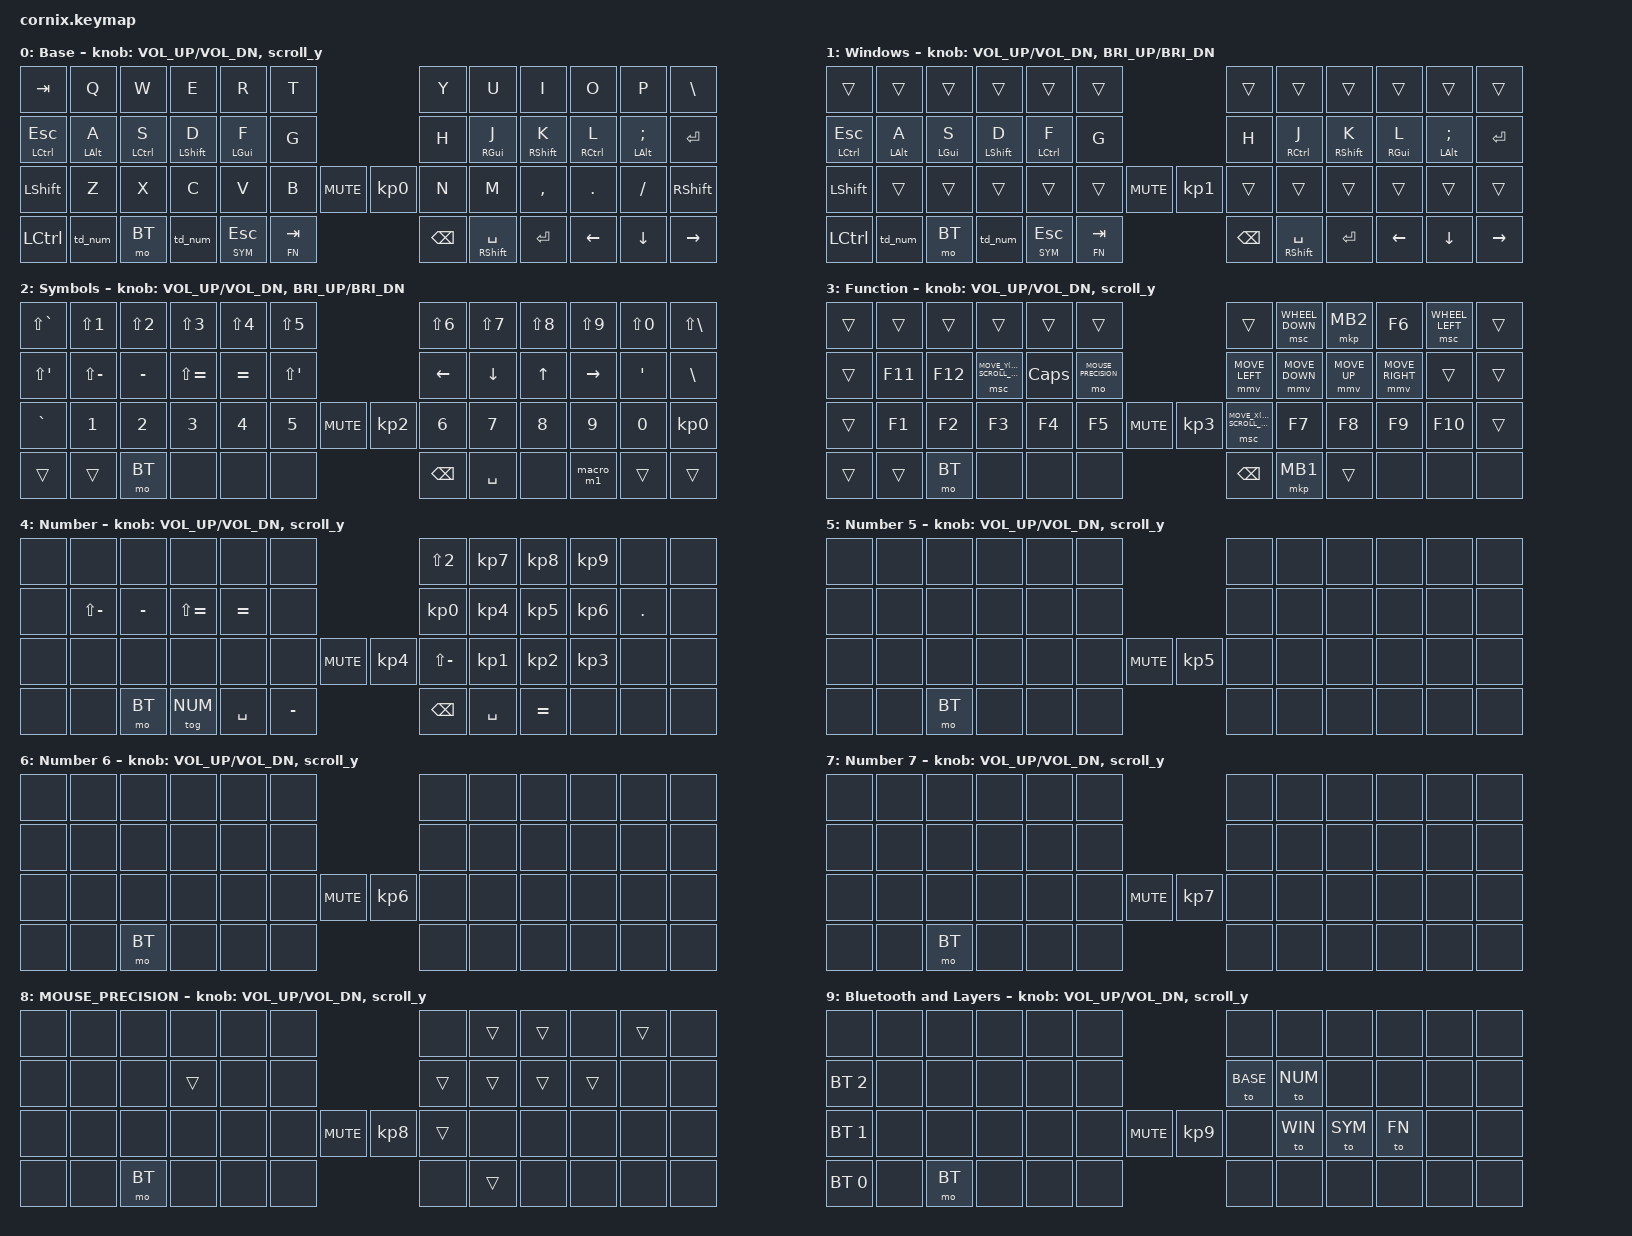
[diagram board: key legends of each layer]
/* Cornix ZMK keymap migrated from CustomizedLayout.vil. */

#include "zmk-helpers/helper.h"
#include "includes/cornix54.h"

#define ZMK_POINTING_DEFAULT_MOVE_VAL 1200

#include <input/processors.dtsi>
#include <behaviors.dtsi>
#include <dt-bindings/zmk/bt.h>
#include <dt-bindings/zmk/keys.h>
#include <dt-bindings/zmk/pointing.h>

#define BASE 0
#define WIN  1
#define SYM  2
#define FN   3
#define NUM  4
#define NUM5 5
#define NUM6 6
#define NUM7 7
#define MOUSE_PRECISION 8
#define BT   9

/* These are the physical positions of the opposite hand and the four home
 * thumb keys. They are the same positional scheme used by the mature
 * "timeless homerow mods" pattern in zmk-config repositories. */

#define KEYS_L LT0 LT1 LT2 LT3 LT4 LT5 LM0 LM1 LM2 LM3 LM4 LM5 LB0 LB1 LB2 LB3 LB4 LB5
#define KEYS_R RT0 RT1 RT2 RT3 RT4 RT5 RM0 RM1 RM2 RM3 RM4 RM5 RB0 RB1 RB2 RB3 RB4 RB5
#define KEYS_T LH1 LH0 RH0 RH1

/* RMK: hold_timeout=200 ms, prior_idle_time=120 ms, flow-tap enabled,
 * permissive-hold enabled, unilateral-tap enabled. ZMK has no exact
 * unilateral-tap switch, so the positional trigger lists below are the
 * practical equivalent: opposite-hand chords become holds, while ordinary
 * same-hand rolls remain taps. */

#define HM_TERM 280
#define HM_QUICK 175
#define HM_IDLE 150
#define LT_TERM 220
#define LT_QUICK 175

/* Kanata scroll rate: 3 units every 90 ms, rounded to units per second. */
#define MOUSE_SCROLL_SPEED 33
#define WHEEL_UP MOVE_Y(MOUSE_SCROLL_SPEED)
#define WHEEL_DOWN MOVE_Y(-MOUSE_SCROLL_SPEED)
#define WHEEL_LEFT MOVE_X(-MOUSE_SCROLL_SPEED)
#define WHEEL_RIGHT MOVE_X(MOUSE_SCROLL_SPEED)

/* Faster default movement with a shorter acceleration ramp. */

&mmv {
    time-to-max-speed-ms = <220>;
    acceleration-exponent = <1>;
};

/*
 * Hold the precision key on the Function layer to reduce X/Y movement
 * to one quarter. The scaler keeps fractional movement as remainders.
 */

&mmv_input_listener {
    precision {
        layers = <MOUSE_PRECISION>;
        input-processors = <&zip_xy_scaler 1 4>;
    };
};

/ {
    behaviors {
        scroll_y: scroll_y {
            compatible = "zmk,behavior-sensor-rotate";
            #sensor-binding-cells = <0>;
            bindings = <&msc SCRL_DOWN>, <&msc SCRL_UP>;
        };

        /* Both finger HRMs allow chords with thumb Enter (RH2). */

        hm_l: homerow_mod_left {
            compatible = "zmk,behavior-hold-tap";
            #binding-cells = <2>;
            bindings = <&kp>, <&kp>;

            flavor = "balanced";
            tapping-term-ms = <HM_TERM>;
            quick-tap-ms = <HM_QUICK>;
            require-prior-idle-ms = <HM_IDLE>;
            hold-trigger-key-positions = <KEYS_R KEYS_T RH2>;
            hold-trigger-on-release;
        };

        hm_r: homerow_mod_right {
            compatible = "zmk,behavior-hold-tap";
            #binding-cells = <2>;
            bindings = <&kp>, <&kp>;

            flavor = "balanced";
            tapping-term-ms = <HM_TERM>;
            quick-tap-ms = <HM_QUICK>;
            require-prior-idle-ms = <HM_IDLE>;
            hold-trigger-key-positions = <KEYS_L KEYS_T RH2>;
            hold-trigger-on-release;
        };

        /* Preserve Space's timing and right-hand positional rules. */

        hm_spc: space_shift {
            compatible = "zmk,behavior-hold-tap";
            #binding-cells = <2>;
            bindings = <&kp>, <&kp>;

            flavor = "balanced";
            tapping-term-ms = <220>;
            quick-tap-ms = <250>;
            require-prior-idle-ms = <150>;
            hold-trigger-key-positions = <KEYS_L KEYS_T>;
            hold-trigger-on-release;
        };

        /* Layer-tap behavior: hold activates a layer, tap sends a key. */

        lt_key: lt_key {
            compatible = "zmk,behavior-hold-tap";
            #binding-cells = <2>;
            bindings = <&mo>, <&kp>;

            flavor = "hold-preferred";
            tapping-term-ms = <LT_TERM>;
            quick-tap-ms = <LT_QUICK>;
        };

        /* RMK TD(0): single tap toggles layer 4, hold momentarily activates it. */

        td_num: td_num {
            compatible = "zmk,behavior-tap-dance";
            #binding-cells = <0>;
            tapping-term-ms = <150>;
            bindings = <&tog NUM>, <&mo NUM>;
        };

        /* M1: mmac314718 + Enter. */

        macro_m1: macro_m1 {
            compatible = "zmk,behavior-macro";
            #binding-cells = <0>;
            wait-ms = <20>;
            tap-ms = <20>;
            bindings =
                <&macro_tap>,
                <&kp M>,
                <&macro_tap>,
                <&kp M>,
                <&macro_tap>,
                <&kp A>,
                <&macro_tap>,
                <&kp C>,
                <&macro_tap>,
                <&kp N3>,
                <&macro_tap>,
                <&kp N1>,
                <&macro_tap>,
                <&kp N4>,
                <&macro_tap>,
                <&kp N7>,
                <&macro_tap>,
                <&kp N1>,
                <&macro_tap>,
                <&kp N8>,
                <&macro_tap>,
                <&kp RET>;
        };

        /* M0: %<md> Enter Enter %</md> Up. */

        macro_m0: macro_m0 {
            compatible = "zmk,behavior-macro";
            #binding-cells = <0>;
            wait-ms = <20>;
            tap-ms = <20>;
            bindings =
                <&macro_tap>,
                <&kp LS(N5)>,
                <&macro_tap>,
                <&kp LS(COMMA)>,
                <&macro_tap>,
                <&kp M>,
                <&macro_tap>,
                <&kp D>,
                <&macro_tap>,
                <&kp LS(DOT)>,
                <&macro_tap>,
                <&kp RET>,
                <&macro_tap>,
                <&kp RET>,
                <&macro_tap>,
                <&kp LS(N5)>,
                <&macro_tap>,
                <&kp LS(COMMA)>,
                <&macro_tap>,
                <&kp FSLH>,
                <&macro_tap>,
                <&kp M>,
                <&macro_tap>,
                <&kp D>,
                <&macro_tap>,
                <&kp LS(DOT)>,
                <&macro_tap>,
                <&kp UP>;
        };
    };

    combos {
        compatible = "zmk,combos";

        /* Vial combo 0: U + I -> [. */

        combo_lbracket {
            bindings = <&kp LBKT>;
            key-positions = <7 8>;
            layers = <BASE>;
            require-prior-idle-ms = <150>;
        };

        /* Vial combo 1: I + O -> ]. */

        combo_rbracket {
            bindings = <&kp RBKT>;
            key-positions = <8 9>;
            layers = <BASE>;
            require-prior-idle-ms = <150>;
        };

        /* Vial combo 2: shifted 8 + shifted 9 -> shifted ]. */

        combo_shift_rbracket {
            bindings = <&kp LS(RBKT)>;
            key-positions = <8 9>;
            layers = <SYM>;
        };

        /* Vial combo 3: shifted 7 + shifted 8 -> shifted [. */

        combo_shift_lbracket {
            bindings = <&kp LS(LBKT)>;
            key-positions = <7 8>;
            layers = <SYM>;
        };

        /* Kanata: W + E -> backslash, guarded against typing rolls. */

        combo_backslash {
            bindings = <&kp BSLH>;
            key-positions = <LT3 LT2>;
            layers = <BASE WIN>;
            timeout-ms = <18>;
            require-prior-idle-ms = <150>;
        };

        /* Kanata: @ + # on the symbol layer -> pipe. */

        combo_shifted_backslash {
            bindings = <&kp LS(BSLH)>;
            key-positions = <LT3 LT2>;
            layers = <SYM>;
            timeout-ms = <18>;
        };
    };

    macros {
    };

    keymap {
        compatible = "zmk,keymap";

        layer0 {
            display-name = "Base";
            bindings = <
&kp TAB         &kp Q         &kp W          &kp E          &kp R            &kp T                                  &kp Y     &kp U              &kp I          &kp O          &kp P            &kp BSLH
&hm_l LCTRL ESC  &hm_l LALT A  &hm_l LCTRL S  &hm_l LSHFT D  &hm_l LGUI F     &kp G                                  &kp H     &hm_r RGUI J       &hm_r RSHFT K  &hm_r RCTRL L  &hm_r LALT SEMI  &kp RET
&kp LSHFT       &kp Z         &kp X          &kp C          &kp V            &kp B           &kp K_MUTE  &kp KP_N0  &kp N     &kp M              &kp COMMA      &kp DOT        &kp FSLH         &kp RSHFT
&kp LCTRL       &td_num       &mo BT         &td_num        &lt_key SYM ESC  &lt_key FN TAB                         &kp BSPC  &hm_spc RSHFT SPACE  &kp RET        &kp LEFT       &kp DOWN         &kp RIGHT
            >;

            sensor-bindings = <&inc_dec_kp C_VOL_UP C_VOL_DN &scroll_y>;
        };

        layer1 {
            display-name = "Windows";
            bindings = <
&trans           &trans        &trans        &trans         &trans           &trans                                 &trans    &trans             &trans         &trans        &trans           &trans
&hm_l LCTRL ESC  &hm_l LALT A  &hm_l LGUI S  &hm_l LSHFT D  &hm_l LCTRL F    &kp G                                  &kp H     &hm_r RCTRL J      &hm_r RSHFT K  &hm_r RGUI L  &hm_r LALT SEMI  &kp RET
&kp LSHFT        &trans        &trans        &trans         &trans           &trans          &kp K_MUTE  &kp KP_N1  &trans    &trans             &trans         &trans        &trans           &trans
&kp LCTRL        &td_num       &mo BT        &td_num        &lt_key SYM ESC  &lt_key FN TAB                         &kp BSPC  &hm_spc RSHFT SPACE  &kp RET        &kp LEFT      &kp DOWN         &kp RIGHT
            >;

            sensor-bindings = <&inc_dec_kp C_VOL_UP C_VOL_DN &inc_dec_kp C_BRI_UP C_BRI_DN>;
        };

        layer2 {
            display-name = "Symbols";
            bindings = <
&kp LS(GRAVE)  &kp LS(N1)     &kp LS(N2)  &kp LS(N3)     &kp LS(N4)  &kp LS(N5)                          &kp LS(N6)  &kp LS(N7)  &kp LS(N8)  &kp LS(N9)  &kp LS(N0)  &kp LS(BSLH)
&kp LS(SQT)    &kp LS(MINUS)  &kp MINUS   &kp LS(EQUAL)  &kp EQUAL   &kp LS(SQT)                         &kp LEFT    &kp DOWN    &kp UP      &kp RIGHT   &kp SQT     &kp BSLH
&kp GRAVE      &kp N1         &kp N2      &kp N3         &kp N4      &kp N5       &kp K_MUTE  &kp KP_N2  &kp N6      &kp N7      &kp N8      &kp N9      &kp N0      &kp KP_N0
&trans         &trans         &mo BT      &none          &none       &none                               &kp BSPC    &kp SPACE   &none       &macro_m1   &trans      &trans
            >;

            sensor-bindings = <&inc_dec_kp C_VOL_UP C_VOL_DN &inc_dec_kp C_BRI_UP C_BRI_DN>;
        };

        layer3 {
            display-name = "Function";
            /* Kanata wheel keys: U/D/P/N = down/up/left/right. F6 moves to O. */
            bindings = <
&trans  &trans   &trans   &trans         &trans        &trans                                      &trans            &msc WHEEL_DOWN  &mkp MB2      &kp F6           &msc WHEEL_LEFT  &trans
&trans  &kp F11  &kp F12  &msc WHEEL_UP  &kp CAPSLOCK  &mo MOUSE_PRECISION                         &mmv MOVE_LEFT    &mmv MOVE_DOWN   &mmv MOVE_UP  &mmv MOVE_RIGHT  &trans           &trans
&trans  &kp F1   &kp F2   &kp F3         &kp F4        &kp F5               &kp K_MUTE  &kp KP_N3  &msc WHEEL_RIGHT  &kp F7           &kp F8        &kp F9           &kp F10          &trans
&trans  &trans   &mo BT   &none          &none         &none                                       &kp BSPC          &mkp MB1         &trans        &none            &none            &none
            >;

            sensor-bindings = <&inc_dec_kp C_VOL_UP C_VOL_DN &scroll_y>;
        };

        layer4 {
            display-name = "Number";
            bindings = <
&none  &none          &none      &none          &none      &none                                   &kp LS(N2)     &kp KP_N7        &kp KP_N8        &kp KP_N9  &none    &none
&none  &kp LS(MINUS)  &kp MINUS  &kp LS(EQUAL)  &kp EQUAL  &none                                   &kp KP_N0      &kp KP_NUMBER_4  &kp KP_NUMBER_5  &kp KP_N6  &kp DOT  &none
&none  &none          &none      &none          &none      &none      &kp K_MUTE  &kp KP_NUMBER_4  &kp LS(MINUS)  &kp KP_N1        &kp KP_N2        &kp KP_N3  &none    &none
&none  &none          &mo BT     &tog NUM       &kp SPACE  &kp MINUS                               &kp BSPC       &kp SPACE        &kp EQUAL        &none      &none    &none
            >;

            sensor-bindings = <&inc_dec_kp C_VOL_UP C_VOL_DN &scroll_y>;
        };

        layer5 {
            display-name = "Number 5";
            bindings = <
&none  &none  &none   &none  &none  &none                         &none  &none  &none  &none  &none  &none
&none  &none  &none   &none  &none  &none                         &none  &none  &none  &none  &none  &none
&none  &none  &none   &none  &none  &none  &kp K_MUTE  &kp KP_N5  &none  &none  &none  &none  &none  &none
&none  &none  &mo BT  &none  &none  &none                         &none  &none  &none  &none  &none  &none
            >;

            sensor-bindings = <&inc_dec_kp C_VOL_UP C_VOL_DN &scroll_y>;
        };

        layer6 {
            display-name = "Number 6";
            bindings = <
&none  &none  &none   &none  &none  &none                         &none  &none  &none  &none  &none  &none
&none  &none  &none   &none  &none  &none                         &none  &none  &none  &none  &none  &none
&none  &none  &none   &none  &none  &none  &kp K_MUTE  &kp KP_N6  &none  &none  &none  &none  &none  &none
&none  &none  &mo BT  &none  &none  &none                         &none  &none  &none  &none  &none  &none
            >;

            sensor-bindings = <&inc_dec_kp C_VOL_UP C_VOL_DN &scroll_y>;
        };

        layer7 {
            display-name = "Number 7";
            bindings = <
&none  &none  &none   &none  &none  &none                         &none  &none  &none  &none  &none  &none
&none  &none  &none   &none  &none  &none                         &none  &none  &none  &none  &none  &none
&none  &none  &none   &none  &none  &none  &kp K_MUTE  &kp KP_N7  &none  &none  &none  &none  &none  &none
&none  &none  &mo BT  &none  &none  &none                         &none  &none  &none  &none  &none  &none
            >;

            sensor-bindings = <&inc_dec_kp C_VOL_UP C_VOL_DN &scroll_y>;
        };

        layer8 {
            display-name = "MOUSE_PRECISION";
            /* Let movement, buttons and wheel keys reach the Function layer. */
            bindings = <
&none  &none  &none   &none   &none  &none                         &none   &trans  &trans  &none   &trans  &none
&none  &none  &none   &trans  &none  &none                         &trans  &trans  &trans  &trans  &none   &none
&none  &none  &none   &none   &none  &none  &kp K_MUTE  &kp KP_N8  &trans  &none   &none   &none   &none   &none
&none  &none  &mo BT  &none   &none  &none                         &none   &trans  &none   &none   &none   &none
            >;

            sensor-bindings = <&inc_dec_kp C_VOL_UP C_VOL_DN &scroll_y>;
        };

        layer9 {
            display-name = "Bluetooth and Layers";
            bindings = <
&none         &none  &none   &none  &none  &none                         &none     &none    &none    &none   &none  &none
&bt BT_SEL 2  &none  &none   &none  &none  &none                         &to BASE  &to NUM  &none    &none   &none  &none
&bt BT_SEL 1  &none  &none   &none  &none  &none  &kp K_MUTE  &kp KP_N9  &none     &to WIN  &to SYM  &to FN  &none  &none
&bt BT_SEL 0  &none  &mo BT  &none  &none  &none                         &none     &none    &none    &none   &none  &none
            >;

            sensor-bindings = <&inc_dec_kp C_VOL_UP C_VOL_DN &scroll_y>;
        };
    };
};
